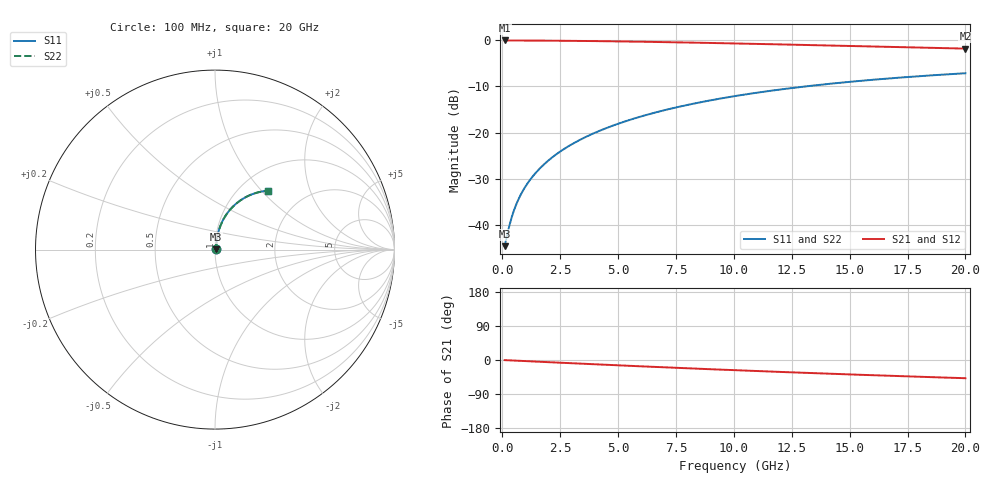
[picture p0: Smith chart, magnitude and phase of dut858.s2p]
! Touchstone file exported from HFSS 2024.1.0
!  File:  C:/UserFiles/LocalFiles/RDL_TSV_Batchsim/temp_RDL_bottom_858_1779864465.aedt
!  Generated:  02:50:30 PM May 27, 2026
!  Design:  RDL_bottom
!  Project:  temp_RDL_bottom_858_1779864465
!  Setup:  Setup1
!  Solution:  Sweep
! Variables:
!  dtsv = 10.80580581um
!  hbump = 3um
!  htsv = 91.13um
!  ldown = 679.86um
!  lrdl = 100um
!  p = 40
!  p1 = 45.71um
!  rhole = 1um
!  t = 450um
!  tdown = 2.6um
!  trdl = 3.915915916um
!  wdown = 18.28um
!  wrdl = 20um
# GHz S MA R 50.000000
! Terminal data exported
! Port[1] = RDL1_T1
! Port[2] = RDL1_T2
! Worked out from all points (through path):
!   200 points, 100 MHz to 20 GHz, reference 50 ohm
!   highest |S21| = -0.05 dB at 100 MHz (marker M1); lowest = -1.8 dB at 20 GHz (marker M2)
!   group delay of S21, straight-line fit = 6.67 ps
!   lowest |S11| = -44.6 dB at 100 MHz (marker M3), VSWR 1.01, Z = 50.5 + j0.272 ohm
!   |S11| at or under -10 dB: start of sweep to 13.09 GHz
!   |S22| runs from -44.6 to -7.1 dB; largest |S21 - S12| = 3.2e-15
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0.1  0.0059 27.2  0.9947 -0.3  0.9947 -0.3  0.0059 27.2
! Gamma 0 0 0 0
! Port Impedance 50 0 50 0
0.3  0.009713 55.0  0.9944 -0.9  0.9944 -0.9  0.009713 55.0
0.4  0.01199 61.1  0.9942 -1.2  0.9942 -1.2  0.01199 61.1
0.5  0.01432 65.1  0.9939 -1.5  0.9939 -1.5  0.01432 65.1
0.6  0.01666 68.0  0.9937 -1.8  0.9937 -1.8  0.01666 68.0
0.7  0.01901 70.1  0.9934 -2.1  0.9934 -2.1  0.01901 70.1
0.9  0.02373 73.1  0.9929 -2.6  0.9929 -2.6  0.02373 73.1
1.2  0.03085 75.9  0.9922 -3.5  0.9922 -3.5  0.03085 75.9
1.4  0.03564 77.1  0.9916 -4.0  0.9916 -4.0  0.03564 77.0
1.7  0.04287 78.2  0.9907 -4.9  0.9907 -4.9  0.04287 78.2
2.2  0.05504 79.3  0.9889 -6.3  0.9889 -6.3  0.05504 79.3
2.8  0.0698 79.7  0.9862 -8.0  0.9862 -8.0  0.06979 79.6
3.5  0.08716 79.4  0.9824 -10.0  0.9824 -10.0  0.08716 79.4
4.2  0.1046 78.8  0.978 -11.9  0.978 -11.9  0.1046 78.8
5  0.1247 77.8  0.9721 -14.1  0.9721 -14.1  0.1247 77.8
5.9  0.1473 76.4  0.9648 -16.5  0.9648 -16.5  0.1473 76.4
6.8  0.1698 74.9  0.9567 -18.8  0.9567 -18.8  0.1698 74.9
8.4  0.2093 71.8  0.9409 -22.9  0.9409 -22.9  0.2093 71.8
10.1  0.2499 68.2  0.9228 -27.0  0.9228 -27.0  0.2498 68.2
13.4  0.3227 61.3  0.8857 -34.6  0.8857 -34.6  0.3226 61.3
16.7  0.3859 54.5  0.8481 -41.6  0.8481 -41.6  0.3859 54.5
20  0.4393 48.2  0.8119 -48.1  0.8119 -48.1  0.4392 48.2
